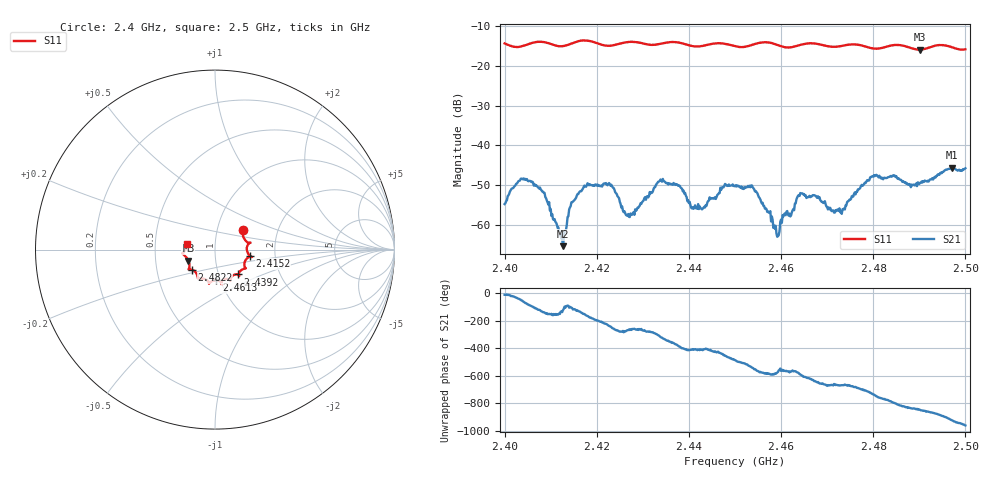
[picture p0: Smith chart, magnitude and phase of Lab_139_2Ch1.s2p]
# Hz S RI R 50
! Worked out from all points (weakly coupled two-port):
!   601 points, 2.4 GHz to 2.5 GHz, reference 50 ohm
!   highest |S21| = -45.59 dB at 2.4972 GHz (marker M1); lowest = -65.4 dB at 2.4127 GHz (marker M2)
!   lowest |S11| = -15.9 dB at 2.4902 GHz (marker M3), VSWR 1.38, Z = 36.9 - j4.64 ohm
!   |S11| at or under -10 dB: start of sweep to end of sweep
!   S12 and S22 are empty: the file has one direction only
!   S11 on the Smith chart (normalised r, x): 2.4 GHz: 1.33, +0.31; 2.4152 GHz: 1.48, -0.11; 2.4392 GHz: 1.23, -0.35; 2.4613 GHz: 0.96, -0.34; 2.4822 GHz: 0.76, -0.17; 2.5 GHz: 0.72, +0.05
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2.4e9  0.1566 0.1114  0.00178 -0.00043  0 0  0 0
2.405667e9  0.1891 0.037  -0.00021 -0.00354  0 0  0 0
2.4085e9  0.196 0.0391  -0.00194 -0.00163  0 0  0 0
2.412667e9  0.1777 -0.00394  -0.000306 -0.000445  0 0  0 0
2.415167e9  0.1949 -0.0356  -0.000962 -0.00182  0 0  0 0
2.416667e9  0.2045 -0.0417  -0.00215 -0.00156  0 0  0 0
2.423e9  0.1647 -0.0728  -0.00135 0.0028  0 0  0 0
2.426833e9  0.1716 -0.1037  -1.5e-05 0.00137  0 0  0 0
2.433333e9  0.1331 -0.1324  0.00209 0.0028  0 0  0 0
2.439167e9  0.1269 -0.1387  0.00167 -0.0019  0 0  0 0
2.443e9  0.0903 -0.1546  0.00092 -0.00131  0 0  0 0
2.45e9  0.0687 -0.1635  -0.00184 -0.00245  0 0  0 0
2.454e9  0.0352 -0.1832  -0.00286 0.000361  0 0  0 0
2.459167e9  0.0328 -0.1814  -0.000562 0.000431  0 0  0 0
2.461333e9  0.0079 -0.1708  -0.00132 0.000707  0 0  0 0
2.466667e9  -0.0331 -0.1901  -1.18e-05 0.00229  0 0  0 0
2.473333e9  -0.0803 -0.1608  0.000991 0.00122  0 0  0 0
2.482167e9  -0.1283 -0.112  0.00248 -0.00281  0 0  0 0
2.483333e9  -0.1395 -0.1102  0.00201 -0.00345  0 0  0 0
2.490167e9  -0.1481 -0.0614  -0.00208 -0.00267  0 0  0 0
2.497167e9  -0.1712 -0.00992  -0.00479 0.00216  0 0  0 0
2.5e9  -0.1585 0.0337  -0.00252 0.00451  0 0  0 0
